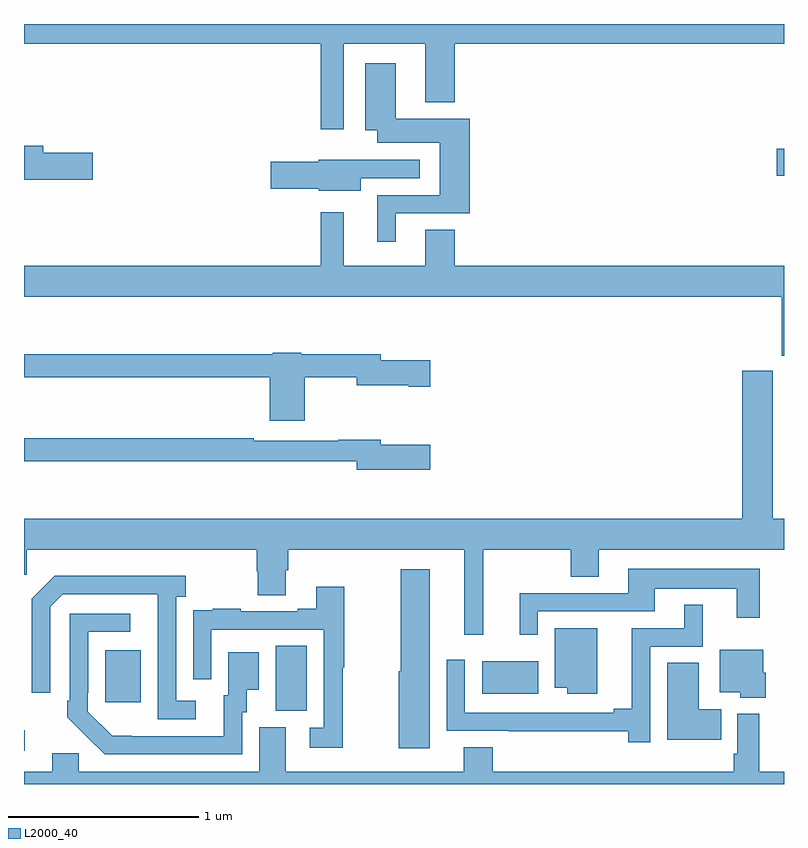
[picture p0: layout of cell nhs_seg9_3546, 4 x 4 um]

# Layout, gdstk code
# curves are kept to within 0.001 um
import gdstk
lib = gdstk.Library(unit=1e-6, precision=1e-09)
def R(c, l, rs):  # rectangles x0, y0, x1, y1
    for r in rs: c.add(gdstk.rectangle(r[:2], r[2:], *l))
def P(c, l, *ps):  # polygons
    for p in ps: c.add(gdstk.Polygon(p, *l))
L2000_40 = (2000, 40)

nhs_seg9_3546 = lib.new_cell('nhs_seg9_3546')
R(nhs_seg9_3546, L2000_40, [(313,1216.674,313.003,1216.783), (314.324,1216.885,314.488,1217.228), (313.427,1216.929,313.615,1217.203), (315.413,1216.976,315.706,1217.146), (316.962,1219.702,317,1219.844)])
P(nhs_seg9_3546, L2000_40, [(314.683,1220.396),(315.113,1220.396),(315.113,1220.087),(315.266,1220.087),(315.266,1220.396),(317,1220.396),(317,1220.5),(313,1220.5),(313,1220.396),(314.562,1220.396),(314.562,1219.947),(314.683,1219.947)],
  [(314.956,1219.503),(315.347,1219.503),(315.347,1220.002),(314.956,1220.002),(314.956,1220.293),(314.795,1220.293),(314.795,1219.94),(314.859,1219.94),(314.859,1219.874),(315.188,1219.874),(315.188,1219.599),(314.858,1219.599),(314.858,1219.353),(314.956,1219.353)],
  [(313.363,1219.823),(313.102,1219.823),(313.102,1219.859),(313,1219.859),(313,1219.681),(313.363,1219.681)],
  [(314.773,1219.689),(315.082,1219.689),(315.082,1219.785),(314.769,1219.785),(314.769,1219.786),(314.55,1219.786),(314.55,1219.775),(314.298,1219.775),(314.298,1219.633),(314.55,1219.633),(314.55,1219.622),(314.773,1219.622)],
  [(317,1219.228),(315.266,1219.228),(315.266,1219.418),(315.113,1219.418),(315.113,1219.228),(314.683,1219.228),(314.683,1219.51),(314.562,1219.51),(314.562,1219.228),(313,1219.228),(313,1219.064),(316.988,1219.064),(316.988,1218.755),(317,1218.755)],
  [(314.477,1218.642),(314.75,1218.642),(314.75,1218.599),(315.026,1218.599),(315.026,1218.592),(315.139,1218.592),(315.139,1218.729),(314.878,1218.729),(314.878,1218.763),(314.46,1218.763),(314.46,1218.771),(314.31,1218.771),(314.31,1218.763),(313,1218.763),(313,1218.642),(314.294,1218.642),(314.294,1218.411),(314.477,1218.411)],
  [(315.416,1217.732),(315.877,1217.732),(315.877,1217.59),(316.024,1217.59),(316.024,1217.732),(317,1217.732),(317,1217.896),(316.941,1217.896),(316.941,1218.676),(316.781,1218.676),(316.781,1217.896),(313,1217.896),(313,1217.601),(313.014,1217.601),(313.014,1217.732),(314.225,1217.732),(314.225,1217.619),(314.23,1217.619),(314.23,1217.494),(314.377,1217.494),(314.377,1217.626),(314.39,1217.626),(314.39,1217.732),(315.317,1217.732),(315.317,1217.286),(315.416,1217.286)],
  [(315.139,1218.285),(314.878,1218.285),(314.878,1218.311),(314.654,1218.311),(314.654,1218.306),(314.21,1218.306),(314.21,1218.319),(313,1218.319),(313,1218.198),(314.75,1218.198),(314.75,1218.155),(315.139,1218.155)],
  [(315.705,1217.409),(316.321,1217.409),(316.321,1217.528),(316.751,1217.528),(316.751,1217.376),(316.873,1217.376),(316.873,1217.632),(316.181,1217.632),(316.181,1217.505),(315.608,1217.505),(315.608,1217.286),(315.705,1217.286)],
  [(315.136,1217.629),(314.983,1217.629),(314.983,1217.094),(314.972,1217.094),(314.972,1216.689),(315.136,1216.689)],
  [(313.903,1216.938),(313.8,1216.938),(313.8,1217.486),(313.852,1217.486),(313.852,1217.596),(313.162,1217.596),(313.041,1217.475),(313.041,1216.98),(313.137,1216.98),(313.137,1217.433),(313.203,1217.499),(313.703,1217.499),(313.704,1216.842),(313.903,1216.842)],
  [(314.678,1217.115),(314.686,1217.115),(314.686,1217.539),(314.537,1217.539),(314.537,1217.422),(314.441,1217.422),(314.441,1217.409),(314.141,1217.409),(314.141,1217.422),(313.993,1217.422),(313.993,1217.415),(313.891,1217.415),(313.891,1217.306),(313.89,1217.306),(313.89,1217.052),(313.986,1217.052),(313.986,1217.313),(314.577,1217.313),(314.577,1216.797),(314.505,1216.797),(314.505,1216.692),(314.678,1216.692)],
  [(316.296,1217.223),(316.573,1217.223),(316.573,1217.443),(316.475,1217.443),(316.475,1217.319),(316.199,1217.319),(316.199,1216.895),(316.103,1216.895),(316.103,1216.875),(315.321,1216.875),(315.321,1217.155),(315.225,1217.155),(315.225,1216.779),(315.55,1216.779),(315.55,1216.778),(316.18,1216.778),(316.18,1216.719),(316.296,1216.719)],
  [(314.148,1216.878),(314.173,1216.878),(314.173,1216.997),(314.236,1216.997),(314.236,1217.194),(314.075,1217.194),(314.075,1216.968),(314.051,1216.968),(314.051,1216.752),(313.464,1216.753),(313.335,1216.881),(313.335,1216.981),(313.338,1216.981),(313.338,1217.301),(313.558,1217.301),(313.558,1217.397),(313.242,1217.397),(313.242,1216.939),(313.227,1216.939),(313.227,1216.851),(313.424,1216.656),(314.148,1216.656)],
  [(316.018,1217.32),(315.794,1217.32),(315.794,1217.006),(315.86,1217.006),(315.86,1216.976),(316.018,1216.976)],
  [(316.904,1217.086),(316.891,1217.086),(316.891,1217.206),(316.661,1217.206),(316.661,1216.982),(316.77,1216.982),(316.77,1216.955),(316.904,1216.955)],
  [(316.67,1216.894),(316.552,1216.894),(316.552,1217.138),(316.385,1217.138),(316.385,1216.733),(316.67,1216.733)],
  [(317,1216.564),(316.871,1216.564),(316.871,1216.87),(316.755,1216.87),(316.755,1216.66),(316.735,1216.66),(316.735,1216.564),(315.467,1216.564),(315.467,1216.694),(315.314,1216.694),(315.314,1216.564),(314.377,1216.564),(314.377,1216.8),(314.237,1216.8),(314.237,1216.564),(313.287,1216.564),(313.287,1216.662),(313.148,1216.662),(313.148,1216.564),(313,1216.564),(313,1216.5),(317,1216.5)])

lib.write_gds('nhs_seg9_3546.gds')
